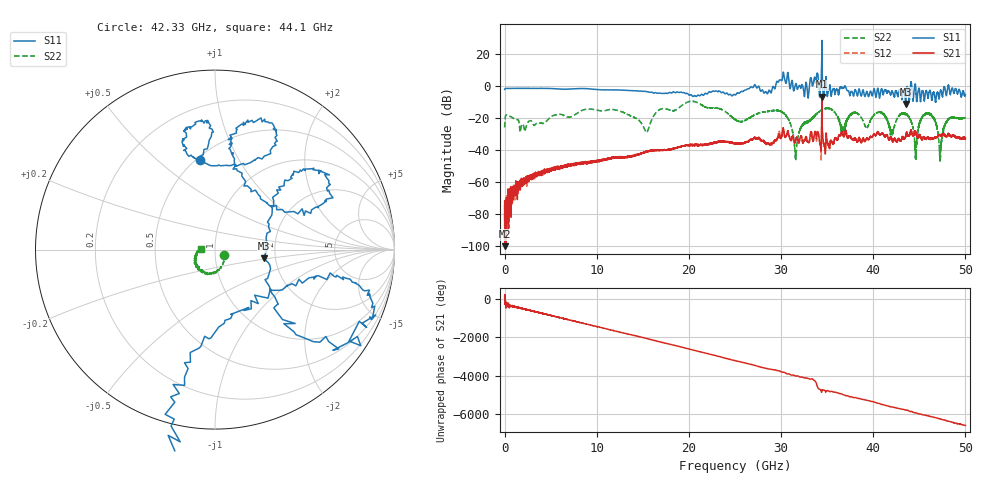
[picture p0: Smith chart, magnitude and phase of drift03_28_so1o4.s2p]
!Created with skrf (http://scikit-rf.org).
# Hz S RI R 50.0
!freq ReS11 ImS11 ReS21 ImS21 ReS12 ImS12 ReS22 ImS22
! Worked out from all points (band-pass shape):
!   10000 points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, 5.3 MHz to 50 GHz, reference 50 ohm
!   highest |S21| = -6.60 dB at 34.43 GHz (marker M1); lowest = -100.1 dB at 25.3 MHz (marker M2)
!   |S21| within 3 dB of the highest: 34.42743 GHz to 34.4348 GHz (7.377 MHz wide, 0.0214 % of centre)
!   lowest |S11| = -11.2 dB at 43.53 GHz (marker M3), VSWR 1.76, Z = 86.6 - j9.03 ohm
!   |S11| at or under -10 dB: 43.50197 GHz to 43.5396 GHz (37.63 MHz wide, 0.0865 % of centre); 46.76382 GHz to 46.76643 GHz (2.602 MHz wide, 0.00556 % of centre)
!   |S22| runs from -46.9 to -9.4 dB; largest |S21 - S12| = 0.14
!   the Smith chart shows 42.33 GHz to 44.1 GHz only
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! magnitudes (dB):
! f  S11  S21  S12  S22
! 5.3 MHz  -2.1  -87.0  -75.1  -25.9
! 25.3 MHz  -1.9  -100.1  -75.3  -23.2
! 2.26 GHz  -1.3  -58.3  -58.7  -27.6
! 8.34 GHz  -1.5  -48.4  -47.5  -15.3
! 15.39 GHz  -3.5  -40.7  -41.0  -28.7
! 16.67 GHz  -4.4  -40.3  -40.0  -15.3
! 20.45 GHz  -6.5  -36.6  -36.3  -9.5
! 25.01 GHz  -5.5  -35.8  -35.8  -20.8
! 29.95 GHz  3.9  -32.6  -32.1  -15.6
! 31.6 GHz  1.5  -33.6  -33.9  -44.4
! 33.34 GHz  2.5  -30.2  -30.5  -20.7
! 34.43 GHz  28.6  -6.6  -8.5  -14.6
! 36.68 GHz  -1.4  -29.4  -29.6  -28.6
! 37.98 GHz  -2.8  -32.5  -32.4  -16.7
! 41.67 GHz  -3.1  -33.2  -33.3  -23.1
! 43.53 GHz  -11.2  -31.1  -31.1  -17.4
! 44.61 GHz  -1.3  -28.7  -28.9  -43.9
! 45.31 GHz  -3.2  -33.1  -33.3  -19.8
! 46.28 GHz  -5.7  -32.8  -32.5  -17.8
! 47.28 GHz  -3.0  -30.6  -30.7  -44.1
! 48.15 GHz  0.4  -29.3  -30.0  -20.4
! 50 GHz  -5.3  -32.4  -32.4  -19.6
